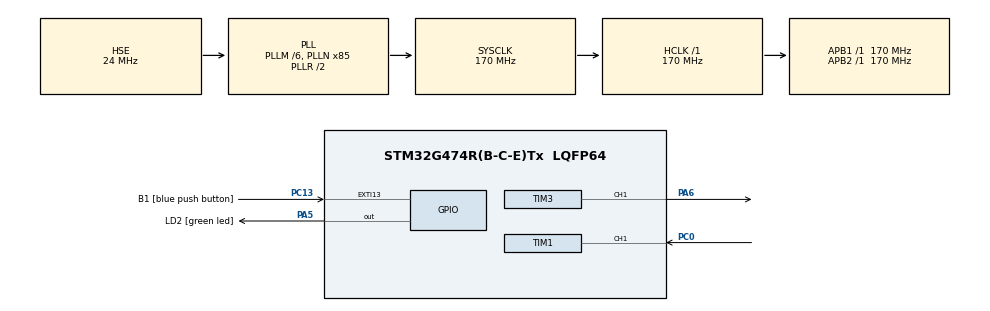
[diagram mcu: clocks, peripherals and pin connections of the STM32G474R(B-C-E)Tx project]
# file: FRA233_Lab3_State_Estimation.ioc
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Mcu.Family=STM32G4
Mcu.Name=STM32G474R(B-C-E)Tx
Mcu.Package=LQFP64
NVIC.EXTI15_10_IRQn=true\:0\:0\:false\:false\:true\:true\:true\:true
NVIC.PriorityGroup=NVIC_PRIORITYGROUP_4
NVIC.TIM1_CC_IRQn=true\:0\:0\:false\:false\:true\:true\:true\:true
NVIC.TIM4_IRQn=true\:0\:0\:false\:false\:true\:true\:true\:true
PA13.GPIO_Label=T_SWDIO
PA13.Signal=SYS_JTMS-SWDIO
PA14.GPIO_Label=T_SWCLK
PA14.Signal=SYS_JTCK-SWCLK
PA2.GPIO_Label=LPUART1_TX [STLINKV3E_VCP_RX]
PA2.Signal=LPUART1_TX
PA3.GPIO_Label=LPUART1_RX [STLINKV3E_VCP_TX]
PA3.Signal=LPUART1_RX
PA5.GPIO_Label=LD2 [green led]
PA5.Signal=GPIO_Output
PA6.Signal=S_TIM3_CH1
PB3.GPIO_Label=T_SWO
PB3.Signal=SYS_JTDO-SWO
PC0.Signal=S_TIM1_CH1
PC13.GPIO_Label=B1 [blue push button]
PC13.Signal=GPXTI13
PC14-OSC32_IN.GPIO_Label=RCC_OSC32_IN
PC14-OSC32_IN.Signal=RCC_OSC32_IN
PC15-OSC32_OUT.GPIO_Label=RCC_OSC32_OUT
PC15-OSC32_OUT.Signal=RCC_OSC32_OUT
PF0-OSC_IN.GPIO_Label=RCC_OSC_IN
PF0-OSC_IN.Mode=HSE-External-Oscillator
PF0-OSC_IN.Signal=RCC_OSC_IN
PF1-OSC_OUT.GPIO_Label=RCC_OSC_OUT
PF1-OSC_OUT.Mode=HSE-External-Oscillator
PF1-OSC_OUT.Signal=RCC_OSC_OUT
ProjectManager.HeapSize=0x200
ProjectManager.StackSize=0x400
ProjectManager.TargetToolchain=STM32CubeIDE
RCC.ADC12Freq_Value=170000000
RCC.ADC345Freq_Value=170000000
RCC.AHBFreq_Value=170000000
RCC.APB1Freq_Value=170000000
RCC.APB1TimFreq_Value=170000000
RCC.APB2Freq_Value=170000000
RCC.APB2TimFreq_Value=170000000
RCC.CortexFreq_Value=170000000
RCC.EXTERNAL_CLOCK_VALUE=12288000
RCC.HCLKFreq_Value=170000000
RCC.HSE_VALUE=24000000
RCC.HSI48_VALUE=48000000
RCC.HSI_VALUE=16000000
RCC.LSE_VALUE=32768
RCC.PLLM=RCC_PLLM_DIV6
RCC.PLLN=85
RCC.PLLSourceVirtual=RCC_PLLSOURCE_HSE
RCC.RTCClockSelection=RCC_RTCCLKSOURCE_LSE
RCC.SYSCLKFreq_VALUE=170000000
RCC.SYSCLKSource=RCC_SYSCLKSOURCE_PLLCLK
RCC.USBFreq_Value=170000000
RCC.VCOOutputFreq_Value=340000000
SH.S_TIM1_CH1.0=TIM1_CH1,Input_Capture1_from_TI1
SH.S_TIM3_CH1.0=TIM3_CH1,PWM Generation1 CH1
TIM1.Channel-Input_Capture1_from_TI1=TIM_CHANNEL_1
TIM1.Prescaler=169
TIM3.Channel-PWM\ Generation1\ CH1=TIM_CHANNEL_1
TIM3.Prescaler=169
TIM4.PeriodNoDither=999
TIM4.Prescaler=169
VP_SYS_VS_DBSignals.Mode=DisableDeadBatterySignals
VP_TIM1_VS_ClockSourceINT.Mode=Internal
VP_TIM3_VS_ClockSourceINT.Mode=Internal
VP_TIM4_VS_ClockSourceINT.Mode=Internal
board=NUCLEO-G474RE

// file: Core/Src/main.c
/* USER CODE BEGIN Header */
/* USER CODE END Header */
#include "main.h"
#include "tim.h"
#include "gpio.h"

/* USER CODE BEGIN Includes */
#include "HCSR04.h"
#include "kalman.h"
/* USER CODE END Includes */

/* USER CODE BEGIN PD */
#define DT 1e-3f
#define BOX_MASS 0.155f
#define NUT_MASS 0.038f

// Editable
#define NUT_NUM 5
#define K_SPRING 27.28971221f	// In meter
#define C_DAMPING 0.109139243f	// In meter

#define X_EQ 9.698007410f 	// 5 Nut
//#define X_EQ 11.37581641f 	// 4 Nut
//#define X_EQ 12.90739147f 	// 3 Nut
//#define X_EQ 14.05852732f 	// 2 Nut
//#define X_EQ 15.74988909f		// 1 Nut

/* USER CODE END PD */

/* USER CODE BEGIN PM */
#define TOTAL_MASS (BOX_MASS + (NUT_MASS * NUT_NUM))
/* USER CODE END PM */

/* USER CODE BEGIN PV */
HCSR04_TypeDef hcsr = { 0 };
float distance = 0;
float kf_distance[6] = { 0 };
KF_TypeDef kf[6] = { 0 };

// Editable
float tune_q[6] = { 6.0f, 60.0f, 600.0f, 90.0f, 900.0f, 9000.0f };

/* USER CODE END PV */

void SystemClock_Config(void);
/* USER CODE BEGIN PFP */
void KF_Constant_Init(KF_TypeDef*, float, float);		// Velocity = 0
void KF_MSD_Init(KF_TypeDef*, float, float);	// Mass-Spring-Damper : u = 0
/* USER CODE END PFP */

int main(void) {

	/* MCU Configuration--------------------------------------------------------*/

	/* Reset of all peripherals, Initializes the Flash interface and the Systick. */
	HAL_Init();

	/* Configure the system clock */
	SystemClock_Config();

	/* Initialize all configured peripherals */
	MX_GPIO_Init();
	MX_TIM1_Init();
	MX_TIM3_Init();
	MX_TIM4_Init();
	/* USER CODE BEGIN 2 */

	// HCSR04 (All Timer is MHz)
	hcsr.TRIG_PWM_Timer.htim = &htim3;
	hcsr.TRIG_PWM_Timer.TIM_Channal = TIM_CHANNEL_1;
	hcsr.ECHO_IC_Timer.htim = &htim1;
	hcsr.ECHO_IC_Timer.TIM_Channal = TIM_CHANNEL_1;
	hcsr.ECHO_IC_Timer.TIM_Active_Channal = HAL_TIM_ACTIVE_CHANNEL_1;
	HCSR04_Init(&hcsr);
	HCSR04_Start();

	// Kalman Filter
	HAL_TIM_Base_Start_IT(&htim4);	// 1000Hz
//	KF_Constant_Init(&kf[0], tune_q[0], 0.010799226f);
//	KF_Constant_Init(&kf[1], tune_q[1], 0.010799226f);
//	KF_Constant_Init(&kf[2], tune_q[2], 0.010799226f);
	KF_MSD_Init(&kf[0], tune_q[0], 0.010799226f);
	KF_MSD_Init(&kf[1], tune_q[1], 0.010799226f);
	KF_MSD_Init(&kf[2], tune_q[2], 0.010799226f);
	KF_MSD_Init(&kf[3], tune_q[3], 0.010799226f);
	KF_MSD_Init(&kf[4], tune_q[4], 0.010799226f);
	KF_MSD_Init(&kf[5], tune_q[5], 0.010799226f);

	/* USER CODE END 2 */

	/* Infinite loop */
	while (1) {

	}
}

void SystemClock_Config(void) {
	RCC_OscInitTypeDef RCC_OscInitStruct = { 0 };
	RCC_ClkInitTypeDef RCC_ClkInitStruct = { 0 };

	/** Configure the main internal regulator output voltage
	 */
	HAL_PWREx_ControlVoltageScaling(PWR_REGULATOR_VOLTAGE_SCALE1_BOOST);

	/** Initializes the RCC Oscillators according to the specified parameters
	 * in the RCC_OscInitTypeDef structure.
	 */
	RCC_OscInitStruct.OscillatorType = RCC_OSCILLATORTYPE_HSE;
	RCC_OscInitStruct.HSEState = RCC_HSE_ON;
	RCC_OscInitStruct.PLL.PLLState = RCC_PLL_ON;
	RCC_OscInitStruct.PLL.PLLSource = RCC_PLLSOURCE_HSE;
	RCC_OscInitStruct.PLL.PLLM = RCC_PLLM_DIV6;
	RCC_OscInitStruct.PLL.PLLN = 85;
	RCC_OscInitStruct.PLL.PLLP = RCC_PLLP_DIV2;
	RCC_OscInitStruct.PLL.PLLQ = RCC_PLLQ_DIV2;
	RCC_OscInitStruct.PLL.PLLR = RCC_PLLR_DIV2;
	if (HAL_RCC_OscConfig(&RCC_OscInitStruct) != HAL_OK) {
		Error_Handler();
	}

	/** Initializes the CPU, AHB and APB buses clocks
	 */
	RCC_ClkInitStruct.ClockType = RCC_CLOCKTYPE_HCLK | RCC_CLOCKTYPE_SYSCLK
			| RCC_CLOCKTYPE_PCLK1 | RCC_CLOCKTYPE_PCLK2;
	RCC_ClkInitStruct.SYSCLKSource = RCC_SYSCLKSOURCE_PLLCLK;
	RCC_ClkInitStruct.AHBCLKDivider = RCC_SYSCLK_DIV1;
	RCC_ClkInitStruct.APB1CLKDivider = RCC_HCLK_DIV1;
	RCC_ClkInitStruct.APB2CLKDivider = RCC_HCLK_DIV1;

	if (HAL_RCC_ClockConfig(&RCC_ClkInitStruct, FLASH_LATENCY_4) != HAL_OK) {
		Error_Handler();
	}
}

/* USER CODE BEGIN 4 */
void HAL_TIM_IC_CaptureCallback(TIM_HandleTypeDef *htim) {
	HCSR04_Echo_Callback(htim);
}

void HAL_TIM_PeriodElapsedCallback(TIM_HandleTypeDef *htim) {
	if (htim == &htim4) {
//		kf[0].Q[0][0] = tune_q[0];
//		kf[1].Q[0][0] = tune_q[1];
//		kf[2].Q[0][0] = tune_q[2];
		KF_SetQ_Discrete(&kf[0], tune_q[0], DT);
		KF_SetQ_Discrete(&kf[1], tune_q[1], DT);
		KF_SetQ_Discrete(&kf[2], tune_q[2], DT);
		KF_SetQ_Continuous(&kf[3], tune_q[3], DT);
		KF_SetQ_Continuous(&kf[4], tune_q[4], DT);
		KF_SetQ_Continuous(&kf[5], tune_q[5], DT);

		KF_Predict(&kf[0]);
		KF_Predict(&kf[1]);
		KF_Predict(&kf[2]);
		KF_Predict(&kf[3]);
		KF_Predict(&kf[4]);
		KF_Predict(&kf[5]);

		distance = HCSR04_Read();

//		KF_Update(&kf[0], distance);
//		KF_Update(&kf[1], distance);
//		KF_Update(&kf[2], distance);
		KF_Update(&kf[0], distance - X_EQ);
		KF_Update(&kf[1], distance - X_EQ);
		KF_Update(&kf[2], distance - X_EQ);
		KF_Update(&kf[3], distance - X_EQ);
		KF_Update(&kf[4], distance - X_EQ);
		KF_Update(&kf[5], distance - X_EQ);

//		kf_distance[0] = kf[0].x[0];
//		kf_distance[1] = kf[1].x[0];
//		kf_distance[2] = kf[2].x[0];
		kf_distance[0] = kf[0].x[0] + X_EQ;
		kf_distance[1] = kf[1].x[0] + X_EQ;
		kf_distance[2] = kf[2].x[0] + X_EQ;
		kf_distance[3] = kf[3].x[0] + X_EQ;
		kf_distance[4] = kf[4].x[0] + X_EQ;
		kf_distance[5] = kf[5].x[0] + X_EQ;
	}
	HAL_GPIO_TogglePin(GPIOA, GPIO_PIN_5);
}

void KF_Constant_Init(KF_TypeDef *kf, float Q, float R) {
	KF_Init(kf);

	// Physics model
	kf->F[0][0] = 1.0f;
	kf->F[0][1] = 0.0f;
	kf->F[1][0] = 0.0f;
	kf->F[1][1] = 0.0f;

	// Process noise
	kf->Q[0][0] = Q;
	kf->Q[0][1] = 0.0f;
	kf->Q[1][0] = 0.0f;
	kf->Q[1][1] = 0.0f;

	// Measurement noise
	kf->R = R;
}

void KF_MSD_Init(KF_TypeDef *kf, float sigma_a, float R) {
	KF_Init(kf);

	// Physics model
	float k_m = (K_SPRING / 100.0f) / TOTAL_MASS;
	float c_m = (C_DAMPING / 100.0f) / TOTAL_MASS;

	kf->F[0][0] = 1.0f;
	kf->F[0][1] = DT;
	kf->F[1][0] = -k_m * DT;
	kf->F[1][1] = 1.0f - (c_m * DT);

	// Process noise
//	KF_SetQ_Discrete(kf, sigma_a, DT);

	// Measurement noise
	kf->R = R;
}

/* USER CODE END 4 */

void Error_Handler(void) {
}
